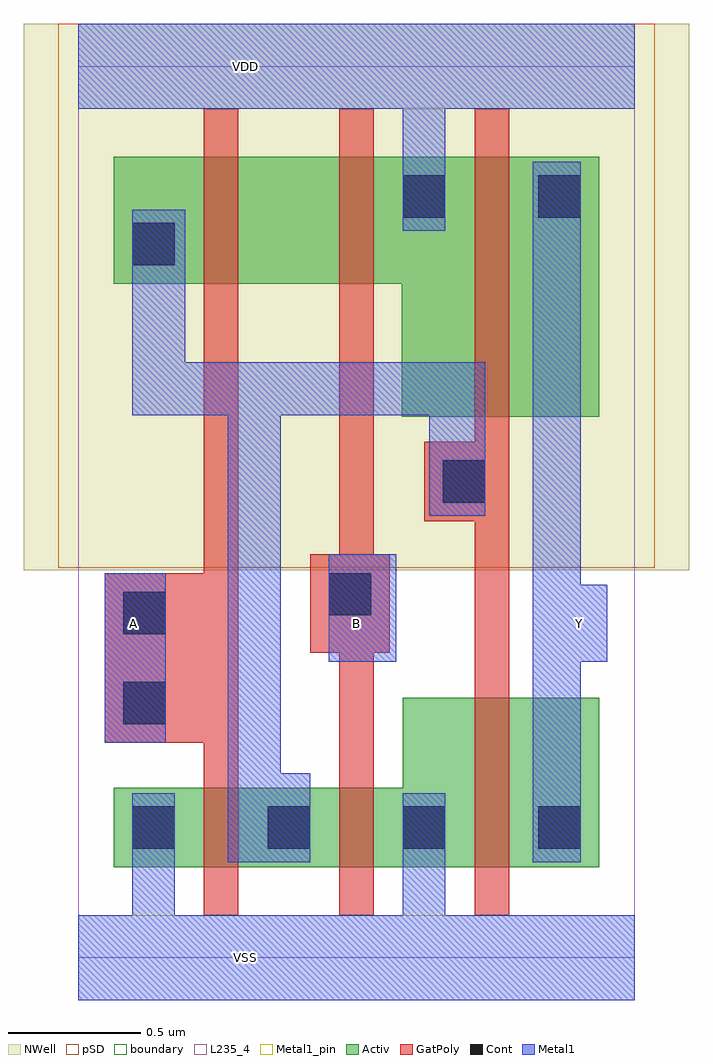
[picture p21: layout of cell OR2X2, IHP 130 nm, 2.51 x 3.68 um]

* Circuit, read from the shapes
.subckt OR2X2 A B VDD VSS Y
XM1 n1 A VSS VSUBS sg13_lv_nmos w=0.3u l=0.13u
XM2 VSS B n1 VSUBS sg13_lv_nmos w=0.3u l=0.13u
XM3 Y n1 VSS VSUBS sg13_lv_nmos w=0.64u l=0.13u
XM4 n2 A n1 n3 sg13_lv_pmos w=0.48u l=0.13u
XM5 VDD B n2 n3 sg13_lv_pmos w=0.48u l=0.13u
XM6 Y n1 VDD n3 sg13_lv_pmos w=0.98u l=0.13u
.ends

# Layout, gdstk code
import gdstk
lib = gdstk.Library(unit=1e-6, precision=1e-09)
def R(c, l, rs):  # rectangles x0, y0, x1, y1
    for r in rs: c.add(gdstk.rectangle(r[:2], r[2:], *l))
def A(c, l, x, y, w, h, nx, ny, dx, dy):  # array of equal rectangles
    R(c, l, [(x+i*dx, y+j*dy, x+i*dx+w, y+j*dy+h) for i in range(nx) for j in range(ny)])
def P(c, l, *ps):  # polygons
    for p in ps: c.add(gdstk.Polygon(p, *l))
Activ = (1, 0)
GatPoly = (5, 0)
Cont = (6, 0)
Metal1 = (8, 0)
Metal1_pin = (8, 2)
pSD = (14, 0)
NWell = (31, 0)
boundary = (189, 4)
L235_4 = (235, 4)

or2x2 = lib.new_cell('OR2X2')
P(or2x2, Activ, [(0.135,0.34),(0.135,0.64),(1.225,0.64),(1.225,0.98),(1.965,0.98),(1.965,0.34)],
  [(1.22,2.04),(1.22,2.54),(0.135,2.54),(0.135,3.02),(1.965,3.02),(1.965,2.04)])
P(or2x2, GatPoly, [(0.985,0.16),(0.985,1.15),(0.875,1.15),(0.875,1.52),(0.985,1.52),(0.985,3.2),(1.115,3.2),(1.115,1.52),(1.175,1.52),(1.175,1.15),(1.115,1.15),(1.115,0.16)],
  [(0.475,0.16),(0.475,0.81),(0.1,0.81),(0.1,1.45),(0.475,1.45),(0.475,3.2),(0.605,3.2),(0.605,0.16)],
  [(1.495,0.16),(1.495,1.645),(1.305,1.645),(1.305,1.945),(1.495,1.945),(1.495,3.2),(1.625,3.2),(1.625,0.16)])
A(or2x2, Cont, 0.205, 0.41, 0.16, 0.16, 4, 1, 0.51, 0)
R(or2x2, Cont, [(0.17,0.88,0.33,1.04), (0.17,1.22,0.33,1.38), (0.945,1.29,1.105,1.45), (1.375,1.715,1.535,1.875), (0.205,2.61,0.365,2.77), (1.225,2.79,1.385,2.95), (1.735,2.79,1.895,2.95)])
R(or2x2, Metal1, [(0.1,0.81,0.33,1.45), (0.945,1.115,1.2,1.52)])
P(or2x2, Metal1, [(1.715,0.36),(1.715,3),(1.895,3),(1.895,1.405),(1.995,1.405),(1.995,1.115),(1.895,1.115),(1.895,0.36)],
  [(0,-0.16),(0,0.16),(0.205,0.16),(0.205,0.62),(0.365,0.62),(0.365,0.16),(1.225,0.16),(1.225,0.62),(1.385,0.62),(1.385,0.16),(2.1,0.16),(2.1,-0.16)],
  [(1.225,2.74),(1.225,3.2),(0,3.2),(0,3.52),(2.1,3.52),(2.1,3.2),(1.385,3.2),(1.385,2.74)],
  [(0.565,0.36),(0.565,2.045),(0.205,2.045),(0.205,2.82),(0.405,2.82),(0.405,2.245),(1.535,2.245),(1.535,1.665),(1.325,1.665),(1.325,2.045),(0.765,2.045),(0.765,0.695),(0.875,0.695),(0.875,0.36)])
R(or2x2, Metal1_pin, [(0,-0.16,2.1,0.16), (0.1,0.81,0.33,1.45), (0.945,1.115,1.2,1.52), (1.715,1.115,1.995,1.405), (0,3.2,2.1,3.52)])
P(or2x2, Metal1_pin, [(1.715,0.36),(1.715,3),(1.895,3),(1.895,1.405),(1.995,1.405),(1.995,1.115),(1.895,1.115),(1.895,0.36)])
R(or2x2, pSD, [(-0.075,1.47,2.175,3.52)])
R(or2x2, NWell, [(-0.205,1.46,2.305,3.52)])
R(or2x2, boundary, [(0,0,2.1,3.36)])
R(or2x2, L235_4, [(0,0,2.1,3.36)])
or2x2.add(gdstk.Label('Y', (1.89,1.26), layer=8, texttype=25))
or2x2.add(gdstk.Label('VDD', (0.63,3.36), layer=8, texttype=25))
or2x2.add(gdstk.Label('A', (0.21,1.26), layer=8, texttype=25))
or2x2.add(gdstk.Label('B', (1.05,1.26), layer=8, texttype=25))
or2x2.add(gdstk.Label('VSS', (0.63,0), layer=8, texttype=25))

lib.write_gds('OR2X2.gds')
